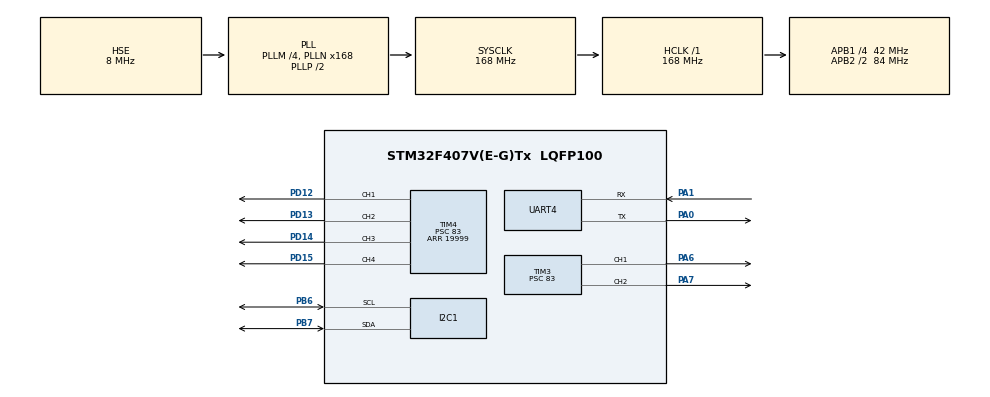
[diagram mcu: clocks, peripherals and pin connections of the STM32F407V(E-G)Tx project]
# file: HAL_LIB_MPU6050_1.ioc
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I2C1.I2C_Mode=I2C_Fast
Mcu.Family=STM32F4
Mcu.Name=STM32F407V(E-G)Tx
Mcu.Package=LQFP100
NVIC.PriorityGroup=NVIC_PRIORITYGROUP_4
NVIC.UART4_IRQn=true\:0\:0\:false\:false\:true\:true\:true
PA0-WKUP.Mode=Asynchronous
PA0-WKUP.Signal=UART4_TX
PA1.Mode=Asynchronous
PA1.Signal=UART4_RX
PA13.Mode=Serial_Wire
PA13.Signal=SYS_JTMS-SWDIO
PA14.Mode=Serial_Wire
PA14.Signal=SYS_JTCK-SWCLK
PA6.Signal=S_TIM3_CH1
PA7.Signal=S_TIM3_CH2
PB6.Mode=I2C
PB6.Signal=I2C1_SCL
PB7.Mode=I2C
PB7.Signal=I2C1_SDA
PD12.Signal=S_TIM4_CH1
PD13.Signal=S_TIM4_CH2
PD14.Signal=S_TIM4_CH3
PD15.Signal=S_TIM4_CH4
PH0-OSC_IN.Mode=HSE-External-Oscillator
PH0-OSC_IN.Signal=RCC_OSC_IN
PH1-OSC_OUT.Mode=HSE-External-Oscillator
PH1-OSC_OUT.Signal=RCC_OSC_OUT
ProjectManager.HeapSize=0x200
ProjectManager.StackSize=0x400
ProjectManager.TargetToolchain=STM32CubeIDE
RCC.48MHZClocksFreq_Value=84000000
RCC.AHBFreq_Value=168000000
RCC.APB1CLKDivider=RCC_HCLK_DIV4
RCC.APB1Freq_Value=42000000
RCC.APB1TimFreq_Value=84000000
RCC.APB2CLKDivider=RCC_HCLK_DIV2
RCC.APB2Freq_Value=84000000
RCC.APB2TimFreq_Value=168000000
RCC.CortexFreq_Value=168000000
RCC.HCLKFreq_Value=168000000
RCC.HSE_VALUE=8000000
RCC.HSI_VALUE=16000000
RCC.LSE_VALUE=32768
RCC.PLLM=4
RCC.PLLN=168
RCC.PLLSourceVirtual=RCC_PLLSOURCE_HSE
RCC.SYSCLKFreq_VALUE=168000000
RCC.SYSCLKSource=RCC_SYSCLKSOURCE_PLLCLK
RCC.VCOOutputFreq_Value=336000000
SH.S_TIM3_CH1.0=TIM3_CH1,PWM Generation1 CH1
SH.S_TIM3_CH2.0=TIM3_CH2,PWM Generation2 CH2
SH.S_TIM4_CH1.0=TIM4_CH1,PWM Generation1 CH1
SH.S_TIM4_CH2.0=TIM4_CH2,PWM Generation2 CH2
SH.S_TIM4_CH3.0=TIM4_CH3,PWM Generation3 CH3
SH.S_TIM4_CH4.0=TIM4_CH4,PWM Generation4 CH4
TIM3.Channel-PWM\ Generation1\ CH1=TIM_CHANNEL_1
TIM3.Channel-PWM\ Generation2\ CH2=TIM_CHANNEL_2
TIM3.Period=19999
TIM3.Prescaler=83
TIM4.Channel-PWM\ Generation1\ CH1=TIM_CHANNEL_1
TIM4.Channel-PWM\ Generation2\ CH2=TIM_CHANNEL_2
TIM4.Channel-PWM\ Generation3\ CH3=TIM_CHANNEL_3
TIM4.Channel-PWM\ Generation4\ CH4=TIM_CHANNEL_4
TIM4.Period=19999
TIM4.Prescaler=83
UART4.VirtualMode=Asynchronous
board=custom

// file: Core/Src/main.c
/* USER CODE BEGIN Header */
/**
  ******************************************************************************
  * @file           : main.c
  * @brief          : Main program body
  ******************************************************************************
  * @attention
  *
  * Copyright (c) 2022 STMicroelectronics.
  * All rights reserved.
  *
  * This software is licensed under terms that can be found in the LICENSE file
  * in the root directory of this software component.
  * If no LICENSE file comes with this software, it is provided AS-IS.
  *
  ******************************************************************************
  */
/* USER CODE END Header */
#include "main.h"

/* USER CODE BEGIN Includes */
	#include "stdio.h"
	#include "math.h"
	#include "string.h"
	#include "stdlib.h"
	#include "stdbool.h"

/* USER CODE END Includes */

/* USER CODE BEGIN PD */
#define mpu6050_slave_adress 0x68<<1
#define power_management_1_register 0x6B
#define gyro_config_register 0x1B
#define accelerometer_config_register 0x1C
#define smplrt_div_reg 0x19
/* USER CODE END PD */

I2C_HandleTypeDef hi2c1;

TIM_HandleTypeDef htim3;
TIM_HandleTypeDef htim4;

UART_HandleTypeDef huart4;

/* USER CODE BEGIN PV */
uint8_t data;
uint8_t buffer[2], tuffer[6], cuffer[6];
int16_t gyro_raw[3],acc_raw[3];
float gyro_cal[3];
int16_t acc_total_vector;
float angle_pitch_gyro, angle_roll_gyro;
float angle_pitch_acc, angle_roll_acc;
float angle_pitch, angle_roll;
int16_t raw_temp;
float temp;
int i, mapL, mapR;
float prev_time, prev_time1, time1, elapsed_time1, prev_time2, time2, elapsed_time2;
float xi, yi, zi, xj, yj, zj;
HAL_StatusTypeDef set_gyro;
uint8_t buffrec[5],total ;
int donusum1,donusum2; // değeri 2^x olarak değerlendiriği için saatlerdir ağlamaktatım :))))))) ^^
char gelen[5], *deneme;

/* USER CODE END PV */

void SystemClock_Config(void);
static void MX_GPIO_Init(void);
static void MX_I2C1_Init(void);
static void MX_TIM3_Init(void);
static void MX_TIM4_Init(void);
static void MX_UART4_Init(void);

/* USER CODE BEGIN 0 */
uint32_t map(uint32_t sens_giris, uint32_t gir_min, uint32_t gir_max, uint32_t cik_min, uint32_t cik_max){
	return ((((sens_giris - gir_min)*(cik_max - cik_min)) / (gir_max - gir_min)) + cik_min);
}

void denge(int egim){

	if (egim < -256){
	//egim = egim *(-1);
	egim = abs(egim);
		if (egim > 2048){
			__HAL_TIM_SET_COMPARE(&htim3, TIM_CHANNEL_2, 2000);
			__HAL_TIM_SET_COMPARE(&htim3, TIM_CHANNEL_1, 1490);
		}
		else {
				mapR = map(egim, 512, 2048, 1500, 2000);
				__HAL_TIM_SET_COMPARE(&htim3, TIM_CHANNEL_2, mapR);
				__HAL_TIM_SET_COMPARE(&htim3, TIM_CHANNEL_1, 1490);
		}
	}
	else if (egim > 256){
		if(egim > 2048){
			__HAL_TIM_SET_COMPARE(&htim3, TIM_CHANNEL_1, 2000);
			__HAL_TIM_SET_COMPARE(&htim3, TIM_CHANNEL_2, 1490);
		}
		else {
			mapL = map(egim, 512, 2048, 1500, 2000);
			__HAL_TIM_SET_COMPARE(&htim3, TIM_CHANNEL_1, mapL);
			__HAL_TIM_SET_COMPARE(&htim3, TIM_CHANNEL_2, 1490);
		}
	}
	else {
		__HAL_TIM_SET_COMPARE(&htim3, TIM_CHANNEL_2, 1500);
		__HAL_TIM_SET_COMPARE(&htim3, TIM_CHANNEL_1, 1490);
	}
}

void led() {
	// 0-2^16-1 değerler arası değerler alınabilr
	//alım formatı x(+/-)...y(+/-)... şekilde x sıfırıncı bit olacak y altıncı bit olacak alınan veri paketi 10 bit olacak
	HAL_UART_Receive_IT(&huart4, (uint8_t*) gelen, 5);	// şu an sadece x ekseni için yazılıyor.
	//donusum1 = atoi(gelen);
	if (gelen[4] == 'X') {
		if (gelen[3] == '+') {
			donusum2 = atoi(gelen);
			__HAL_TIM_SET_COMPARE(&htim4, TIM_CHANNEL_1, 1300);
			__HAL_TIM_SET_COMPARE(&htim4, TIM_CHANNEL_2, 1700);
			__HAL_TIM_SET_COMPARE(&htim4, TIM_CHANNEL_3, 1300);

		}
	} else if (gelen[3] == '-') {
		donusum2 = atoi(gelen);
		__HAL_TIM_SET_COMPARE(&htim4, TIM_CHANNEL_1, 1300);
		__HAL_TIM_SET_COMPARE(&htim4, TIM_CHANNEL_2, 1700);
		__HAL_TIM_SET_COMPARE(&htim4, TIM_CHANNEL_3, 1300);
	}
	else {
		__HAL_TIM_SET_COMPARE(&htim4, TIM_CHANNEL_1, 1500);
		__HAL_TIM_SET_COMPARE(&htim4, TIM_CHANNEL_2, 1500);
		__HAL_TIM_SET_COMPARE(&htim4, TIM_CHANNEL_3, 1500);

	}
}

/* USER CODE END 0 */

int main(void)
{

  /* MCU Configuration--------------------------------------------------------*/

  /* Reset of all peripherals, Initializes the Flash interface and the Systick. */
  HAL_Init();

  /* Configure the system clock */
  SystemClock_Config();

  /* Initialize all configured peripherals */
  MX_GPIO_Init();
  MX_I2C1_Init();
  MX_TIM3_Init();
  MX_TIM4_Init();
  MX_UART4_Init();
  /* USER CODE BEGIN 2 */

  __HAL_UART_ENABLE_IT(&huart4, UART_IT_RXNE);
  __HAL_UART_ENABLE_IT(&huart4, UART_IT_TC);
  HAL_TIM_PWM_Start(&htim3, TIM_CHANNEL_1);
  HAL_TIM_PWM_Start(&htim3, TIM_CHANNEL_2);
  HAL_TIM_PWM_Start(&htim3, TIM_CHANNEL_3);
  HAL_TIM_PWM_Start(&htim3, TIM_CHANNEL_4);
  HAL_TIM_PWM_Start(&htim4, TIM_CHANNEL_1);
  HAL_TIM_PWM_Start(&htim4, TIM_CHANNEL_2);
  HAL_TIM_PWM_Start(&htim4, TIM_CHANNEL_3);
  HAL_TIM_PWM_Start(&htim4, TIM_CHANNEL_4);

	__HAL_TIM_SET_COMPARE(&htim3, TIM_CHANNEL_1, 1500);
	HAL_Delay(1000);
	__HAL_TIM_SET_COMPARE(&htim3, TIM_CHANNEL_2, 1500);
	HAL_Delay(1000);

  data = 0x00;
  HAL_I2C_Mem_Write(&hi2c1, mpu6050_slave_adress, power_management_1_register, 1, &data, 1, HAL_MAX_DELAY);
  // power management reigster ayarı

  data = 0x08;
  HAL_I2C_Mem_Write(&hi2c1, mpu6050_slave_adress, gyro_config_register, 1, &data, 1, HAL_MAX_DELAY);
  // gyro ayarı

  data = 0x10;
  HAL_I2C_Mem_Write(&hi2c1, mpu6050_slave_adress, accelerometer_config_register, 1, &data, 1, HAL_MAX_DELAY);
  //ivme ölçer ayarı

  for(i=0;i<2000;i++){
	  prev_time2 = time2;
	  time2 = HAL_GetTick();
	  elapsed_time2 = (time2 - prev_time2)*1000;

	  cuffer[0] = 0x43;
	  HAL_I2C_Master_Transmit(&hi2c1, mpu6050_slave_adress, cuffer, 1, HAL_MAX_DELAY);
	  HAL_I2C_Master_Receive(&hi2c1, mpu6050_slave_adress, cuffer, 6, HAL_MAX_DELAY);

	  gyro_raw[0] = (cuffer[0] << 8 | cuffer[1]);
	  gyro_raw[1] = (cuffer[2] << 8 | cuffer[3]);
	  gyro_raw[2] = (cuffer[4] << 8 | cuffer[5]);

	  gyro_cal[0] += gyro_raw[0];
	  gyro_cal[1] += gyro_raw[1];
	  gyro_cal[2] += gyro_raw[2];

	  HAL_Delay(3);
  }

  gyro_cal[0] /= 2000;
  gyro_cal[1] /= 2000;
  gyro_cal[2] /= 2000;

  __HAL_UART_ENABLE_IT(&huart4, UART_IT_RXNE);
  __HAL_UART_ENABLE_IT(&huart4, UART_IT_TC);
  HAL_TIM_PWM_Start(&htim3, TIM_CHANNEL_1);
  HAL_TIM_PWM_Start(&htim3, TIM_CHANNEL_2);
  HAL_TIM_PWM_Start(&htim3, TIM_CHANNEL_3);
  HAL_TIM_PWM_Start(&htim3, TIM_CHANNEL_4);
  HAL_TIM_PWM_Start(&htim4, TIM_CHANNEL_1);
  HAL_TIM_PWM_Start(&htim4, TIM_CHANNEL_2);
  HAL_TIM_PWM_Start(&htim4, TIM_CHANNEL_3);
  HAL_TIM_PWM_Start(&htim4, TIM_CHANNEL_4);

  /* USER CODE END 2 */

  /* Infinite loop */
  while (1)
  {

    /* USER CODE BEGIN 3 */

	  prev_time1 = time1;
	  time1 = HAL_GetTick();
	  elapsed_time1 = (time1-prev_time1)*1000;

	  tuffer[0] = 0x3B; //accelerometer
	  HAL_I2C_Master_Transmit(&hi2c1, mpu6050_slave_adress, tuffer, 1, HAL_MAX_DELAY);
	  HAL_I2C_Master_Receive(&hi2c1, mpu6050_slave_adress, tuffer, 1, HAL_MAX_DELAY);

	  xi = acc_raw[0] = (tuffer[0]<<8 | tuffer[1]);
	  yi = acc_raw[1] = (tuffer[2]<<8 | tuffer[3]);
	  zi = acc_raw[2] = (tuffer[4]<<8 | tuffer[5]);

	  buffer[0] = 0x41; // temperature
	  HAL_I2C_Master_Transmit(&hi2c1, mpu6050_slave_adress, buffer, 1,HAL_MAX_DELAY);
	  HAL_I2C_Master_Receive(&hi2c1, mpu6050_slave_adress, buffer, 2, HAL_MAX_DELAY);

	  raw_temp = (buffer[0]<<8 | buffer[1]);
	  temp = (raw_temp/340) + 36.53;

	  cuffer[0] = 0x43; //gyro
	  HAL_I2C_Master_Transmit(&hi2c1, mpu6050_slave_adress, cuffer, 1, HAL_MAX_DELAY);
	  HAL_I2C_Master_Receive(&hi2c1, mpu6050_slave_adress, cuffer, 1, HAL_MAX_DELAY);

	  gyro_raw[0] = (cuffer[0] << 8 | cuffer[1]);
	  gyro_raw[1] = (cuffer[2] << 8 | cuffer[3]);
	  gyro_raw[2] = (cuffer[4] << 8 | cuffer[5]);

	  xj = gyro_raw[0] -= gyro_cal[0];
	  yj = gyro_raw[1] -= gyro_cal[1];
	  zj = gyro_raw[2] -= gyro_cal[2];

	  angle_pitch_gyro += gyro_raw[0]*0.0000611; //gyro_raw/(65.5*[örnekleme süresi]0.004sn)
	  angle_roll_gyro += gyro_raw[1]*0.0000611;

	  angle_pitch_gyro += angle_roll_gyro * sin(gyro_raw[2]*0.000001066);
	  angle_roll_gyro -= angle_pitch_gyro * sin(gyro_raw[2]*0.000001066);

	  acc_total_vector = sqrt((acc_raw[0]*acc_raw[0])+(acc_raw[1]*acc_raw[1])+(acc_raw[2]*acc_raw[2]));

	  angle_pitch_acc = asin((float)acc_raw[1]/acc_total_vector)*57.296;
	  angle_roll_acc = asin((float)acc_raw[0]/acc_total_vector)*-57.296;

	  angle_pitch_acc -= 0.00;
	  angle_roll_acc -= 0.00;

	  if(set_gyro){
		  angle_pitch = angle_pitch_gyro*0.9996 + angle_pitch_acc*0.0004;
		  angle_roll = angle_roll_gyro*0.9996 + angle_roll_acc*0.0004;
	  }
	  else {
		  angle_pitch = angle_pitch_acc;
		  set_gyro = true;

	  }
	  while ((HAL_GetTick()-prev_time)*1000 < 4000);
	  prev_time = HAL_GetTick();

	  denge(xi);
	  led();
  }
  /* USER CODE END 3 */
}

void SystemClock_Config(void)
{
  RCC_OscInitTypeDef RCC_OscInitStruct = {0};
  RCC_ClkInitTypeDef RCC_ClkInitStruct = {0};

  /** Configure the main internal regulator output voltage
  */
  __HAL_RCC_PWR_CLK_ENABLE();
  __HAL_PWR_VOLTAGESCALING_CONFIG(PWR_REGULATOR_VOLTAGE_SCALE1);
  /** Initializes the RCC Oscillators according to the specified parameters
  * in the RCC_OscInitTypeDef structure.
  */
  RCC_OscInitStruct.OscillatorType = RCC_OSCILLATORTYPE_HSE;
  RCC_OscInitStruct.HSEState = RCC_HSE_ON;
  RCC_OscInitStruct.PLL.PLLState = RCC_PLL_ON;
  RCC_OscInitStruct.PLL.PLLSource = RCC_PLLSOURCE_HSE;
  RCC_OscInitStruct.PLL.PLLM = 4;
  RCC_OscInitStruct.PLL.PLLN = 168;
  RCC_OscInitStruct.PLL.PLLP = RCC_PLLP_DIV2;
  RCC_OscInitStruct.PLL.PLLQ = 4;
  if (HAL_RCC_OscConfig(&RCC_OscInitStruct) != HAL_OK)
  {
    Error_Handler();
  }
  /** Initializes the CPU, AHB and APB buses clocks
  */
  RCC_ClkInitStruct.ClockType = RCC_CLOCKTYPE_HCLK|RCC_CLOCKTYPE_SYSCLK
                              |RCC_CLOCKTYPE_PCLK1|RCC_CLOCKTYPE_PCLK2;
  RCC_ClkInitStruct.SYSCLKSource = RCC_SYSCLKSOURCE_PLLCLK;
  RCC_ClkInitStruct.AHBCLKDivider = RCC_SYSCLK_DIV1;
  RCC_ClkInitStruct.APB1CLKDivider = RCC_HCLK_DIV4;
  RCC_ClkInitStruct.APB2CLKDivider = RCC_HCLK_DIV2;

  if (HAL_RCC_ClockConfig(&RCC_ClkInitStruct, FLASH_LATENCY_5) != HAL_OK)
  {
    Error_Handler();
  }
}

static void MX_I2C1_Init(void)
{

  hi2c1.Instance = I2C1;
  hi2c1.Init.ClockSpeed = 400000;
  hi2c1.Init.DutyCycle = I2C_DUTYCYCLE_2;
  hi2c1.Init.OwnAddress1 = 0;
  hi2c1.Init.AddressingMode = I2C_ADDRESSINGMODE_7BIT;
  hi2c1.Init.DualAddressMode = I2C_DUALADDRESS_DISABLE;
  hi2c1.Init.OwnAddress2 = 0;
  hi2c1.Init.GeneralCallMode = I2C_GENERALCALL_DISABLE;
  hi2c1.Init.NoStretchMode = I2C_NOSTRETCH_DISABLE;
  if (HAL_I2C_Init(&hi2c1) != HAL_OK)
  {
    Error_Handler();
  }

}

static void MX_TIM3_Init(void)
{

  TIM_MasterConfigTypeDef sMasterConfig = {0};
  TIM_OC_InitTypeDef sConfigOC = {0};

  htim3.Instance = TIM3;
  htim3.Init.Prescaler = 83;
  htim3.Init.CounterMode = TIM_COUNTERMODE_UP;
  htim3.Init.Period = 19999;
  htim3.Init.ClockDivision = TIM_CLOCKDIVISION_DIV1;
  htim3.Init.AutoReloadPreload = TIM_AUTORELOAD_PRELOAD_DISABLE;
  if (HAL_TIM_PWM_Init(&htim3) != HAL_OK)
  {
    Error_Handler();
  }
  sMasterConfig.MasterOutputTrigger = TIM_TRGO_RESET;
  sMasterConfig.MasterSlaveMode = TIM_MASTERSLAVEMODE_DISABLE;
  if (HAL_TIMEx_MasterConfigSynchronization(&htim3, &sMasterConfig) != HAL_OK)
  {
    Error_Handler();
  }
  sConfigOC.OCMode = TIM_OCMODE_PWM1;
  sConfigOC.Pulse = 0;
  sConfigOC.OCPolarity = TIM_OCPOLARITY_HIGH;
  sConfigOC.OCFastMode = TIM_OCFAST_DISABLE;
  if (HAL_TIM_PWM_ConfigChannel(&htim3, &sConfigOC, TIM_CHANNEL_1) != HAL_OK)
  {
    Error_Handler();
  }
  if (HAL_TIM_PWM_ConfigChannel(&htim3, &sConfigOC, TIM_CHANNEL_2) != HAL_OK)
  {
    Error_Handler();
  }
  HAL_TIM_MspPostInit(&htim3);

}

static void MX_TIM4_Init(void)
{

  TIM_MasterConfigTypeDef sMasterConfig = {0};
  TIM_OC_InitTypeDef sConfigOC = {0};

  htim4.Instance = TIM4;
  htim4.Init.Prescaler = 83;
  htim4.Init.CounterMode = TIM_COUNTERMODE_UP;
  htim4.Init.Period = 19999;
  htim4.Init.ClockDivision = TIM_CLOCKDIVISION_DIV1;
  htim4.Init.AutoReloadPreload = TIM_AUTORELOAD_PRELOAD_DISABLE;
  if (HAL_TIM_PWM_Init(&htim4) != HAL_OK)
  {
    Error_Handler();
  }
  sMasterConfig.MasterOutputTrigger = TIM_TRGO_RESET;
  sMasterConfig.MasterSlaveMode = TIM_MASTERSLAVEMODE_DISABLE;
  if (HAL_TIMEx_MasterConfigSynchronization(&htim4, &sMasterConfig) != HAL_OK)
  {
    Error_Handler();
  }
  sConfigOC.OCMode = TIM_OCMODE_PWM1;
  sConfigOC.Pulse = 0;
  sConfigOC.OCPolarity = TIM_OCPOLARITY_HIGH;
  sConfigOC.OCFastMode = TIM_OCFAST_DISABLE;
  if (HAL_TIM_PWM_ConfigChannel(&htim4, &sConfigOC, TIM_CHANNEL_1) != HAL_OK)
  {
    Error_Handler();
  }
  if (HAL_TIM_PWM_ConfigChannel(&htim4, &sConfigOC, TIM_CHANNEL_2) != HAL_OK)
  {
    Error_Handler();
  }
  if (HAL_TIM_PWM_ConfigChannel(&htim4, &sConfigOC, TIM_CHANNEL_3) != HAL_OK)
  {
    Error_Handler();
  }
  if (HAL_TIM_PWM_ConfigChannel(&htim4, &sConfigOC, TIM_CHANNEL_4) != HAL_OK)
  {
    Error_Handler();
  }
  HAL_TIM_MspPostInit(&htim4);

}

static void MX_UART4_Init(void)
{

  huart4.Instance = UART4;
  huart4.Init.BaudRate = 115200;
  huart4.Init.WordLength = UART_WORDLENGTH_8B;
  huart4.Init.StopBits = UART_STOPBITS_1;
  huart4.Init.Parity = UART_PARITY_NONE;
  huart4.Init.Mode = UART_MODE_TX_RX;
  huart4.Init.HwFlowCtl = UART_HWCONTROL_NONE;
  huart4.Init.OverSampling = UART_OVERSAMPLING_16;
  if (HAL_UART_Init(&huart4) != HAL_OK)
  {
    Error_Handler();
  }

}

static void MX_GPIO_Init(void)
{

  /* GPIO Ports Clock Enable */
  __HAL_RCC_GPIOH_CLK_ENABLE();
  __HAL_RCC_GPIOA_CLK_ENABLE();
  __HAL_RCC_GPIOD_CLK_ENABLE();
  __HAL_RCC_GPIOB_CLK_ENABLE();

}

void Error_Handler(void)
{
  __disable_irq();
  while (1)
  {
  }
}
